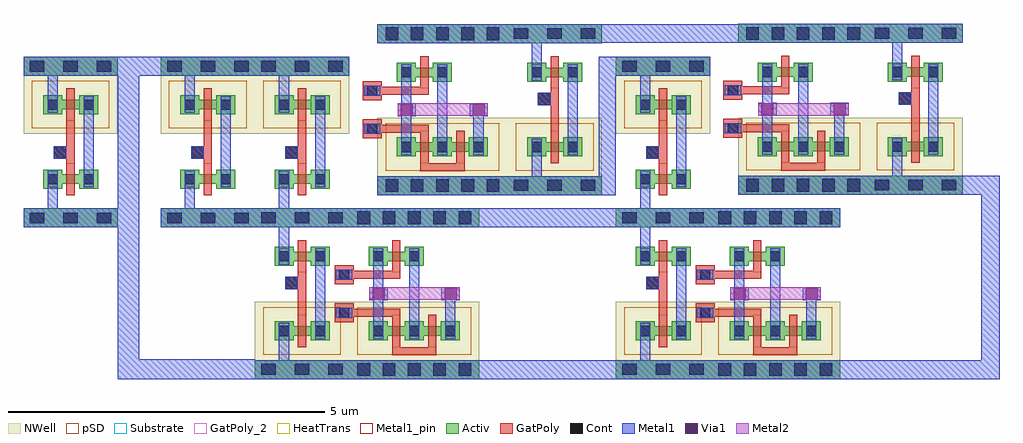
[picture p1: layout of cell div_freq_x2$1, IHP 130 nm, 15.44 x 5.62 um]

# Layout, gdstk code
import gdstk
lib = gdstk.Library(unit=1e-6, precision=5e-09)
def R(c, l, rs):  # rectangles x0, y0, x1, y1
    for r in rs: c.add(gdstk.rectangle(r[:2], r[2:], *l))
def A(c, l, x, y, w, h, nx, ny, dx, dy):  # array of equal rectangles
    R(c, l, [(x+i*dx, y+j*dy, x+i*dx+w, y+j*dy+h) for i in range(nx) for j in range(ny)])
Activ = (1, 0)
GatPoly = (5, 0)
GatPoly_2 = (5, 2)
Cont = (6, 0)
Metal1 = (8, 0)
Metal1_pin = (8, 2)
Metal2 = (10, 0)
pSD = (14, 0)
Via1 = (19, 0)
NWell = (31, 0)
Substrate = (40, 0)
HeatTrans = (51, 0)

pmos_2_5 = lib.new_cell('pmos$2$5')
A(pmos_2_5, Activ, 0, 0, 0.3, 0.3, 3, 1, 0.57, 0)
R(pmos_2_5, Activ, [(0,0.075,1.44,0.225)])
R(pmos_2_5, GatPoly, [(0.37,-0.105,0.5,0.405), (0.37,-0.105,0.5,0.405), (0.94,-0.105,1.07,0.405)])
A(pmos_2_5, Cont, 0.07, 0.07, 0.16, 0.16, 3, 1, 0.57, 0)
R(pmos_2_5, Metal1, [(0.07,0.02,0.23,0.28), (0.07,0.02,0.23,0.28), (0.64,0.02,0.8,0.28), (0.64,0.02,0.8,0.28), (1.21,0.02,1.37,0.28)])
R(pmos_2_5, pSD, [(-0.18,-0.225,1.62,0.525)])
R(pmos_2_5, NWell, [(-0.31,-0.31,1.75,0.61)])
R(pmos_2_5, Substrate, [(1.14,0,1.44,0.3)])
R(pmos_2_5, HeatTrans, [(0.37,-0.105,0.5,0.405), (0.94,-0.105,1.07,0.405)])
pmos_2_5.add(gdstk.Label('pmos', (0.435,0.15), layer=63, texttype=0))
pmos_2_5.add(gdstk.Label('pmos', (0.435,0.15), layer=51, texttype=0))
pmos_2_5.add(gdstk.Label('pmos', (1.005,0.15), layer=51, texttype=0))

via_stack_1_2_7 = lib.new_cell('via_stack$1$2$7')
R(via_stack_1_2_7, GatPoly, [(-0.15,-0.15,0.15,0.15)])
R(via_stack_1_2_7, Cont, [(-0.08,-0.08,0.08,0.08)])
R(via_stack_1_2_7, Metal1, [(-0.13,-0.08,0.13,0.08)])

nmos_2_9 = lib.new_cell('nmos$2$9')
R(nmos_2_9, Activ, [(0,0,0.3,0.3), (0.57,0,0.87,0.3), (0,0.075,0.87,0.225)])
R(nmos_2_9, GatPoly, [(0.37,-0.105,0.5,0.405)])
R(nmos_2_9, GatPoly_2, [(0.37,-0.105,0.5,0.405)])
R(nmos_2_9, Cont, [(0.07,0.07,0.23,0.23), (0.64,0.07,0.8,0.23)])
R(nmos_2_9, Metal1, [(0.07,0.02,0.23,0.28), (0.64,0.02,0.8,0.28)])
R(nmos_2_9, Metal1_pin, [(0.07,0.02,0.23,0.28), (0.64,0.02,0.8,0.28)])
R(nmos_2_9, HeatTrans, [(0.37,-0.105,0.5,0.405)])
nmos_2_9.add(gdstk.Label('nmos', (0.435,0.15), layer=63, texttype=0))
nmos_2_9.add(gdstk.Label('nmos', (0.435,0.15), layer=51, texttype=0))

via_stack_2_2_3 = lib.new_cell('via_stack$2$2$3')
R(via_stack_2_2_3, Metal1, [(-0.145,-0.105,0.145,0.105)])
R(via_stack_2_2_3, Metal2, [(-0.145,-0.1,0.145,0.1)])
R(via_stack_2_2_3, Via1, [(-0.095,-0.095,0.095,0.095)])

pmos_1_4_5 = lib.new_cell('pmos$1$4$5')
A(pmos_1_4_5, Activ, 0, 0, 0.3, 0.3, 3, 1, 0.57, 0)
R(pmos_1_4_5, Activ, [(0,0.075,1.44,0.225)])
R(pmos_1_4_5, GatPoly, [(0.37,-0.105,0.5,0.405), (0.37,-0.105,0.5,0.405), (0.94,-0.105,1.07,0.405)])
A(pmos_1_4_5, Cont, 0.07, 0.07, 0.16, 0.16, 3, 1, 0.57, 0)
R(pmos_1_4_5, Metal1, [(0.07,0.02,0.23,0.28), (0.07,0.02,0.23,0.28), (0.64,0.02,0.8,0.28), (0.64,0.02,0.8,0.28), (1.21,0.02,1.37,0.28)])
R(pmos_1_4_5, pSD, [(-0.18,-0.225,1.62,0.525)])
R(pmos_1_4_5, NWell, [(-0.31,-0.31,1.75,0.61)])
R(pmos_1_4_5, Substrate, [(1.14,0,1.44,0.3)])
R(pmos_1_4_5, HeatTrans, [(0.37,-0.105,0.5,0.405), (0.94,-0.105,1.07,0.405)])
pmos_1_4_5.add(gdstk.Label('pmos', (0.435,0.15), layer=63, texttype=0))
pmos_1_4_5.add(gdstk.Label('pmos', (0.435,0.15), layer=51, texttype=0))
pmos_1_4_5.add(gdstk.Label('pmos', (1.005,0.15), layer=51, texttype=0))

via_stack_1_1_1_6 = lib.new_cell('via_stack$1$1$1$6')
R(via_stack_1_1_1_6, GatPoly, [(-0.15,-0.15,0.15,0.15)])
R(via_stack_1_1_1_6, Cont, [(-0.08,-0.08,0.08,0.08)])
R(via_stack_1_1_1_6, Metal1, [(-0.13,-0.08,0.13,0.08)])

nmos_1_4_3 = lib.new_cell('nmos$1$4$3')
R(nmos_1_4_3, Activ, [(0,0,0.3,0.3), (0.57,0,0.87,0.3), (0,0.075,0.87,0.225)])
R(nmos_1_4_3, GatPoly, [(0.37,-0.105,0.5,0.405)])
R(nmos_1_4_3, GatPoly_2, [(0.37,-0.105,0.5,0.405)])
R(nmos_1_4_3, Cont, [(0.07,0.07,0.23,0.23), (0.64,0.07,0.8,0.23)])
R(nmos_1_4_3, Metal1, [(0.07,0.02,0.23,0.28), (0.64,0.02,0.8,0.28)])
R(nmos_1_4_3, Metal1_pin, [(0.07,0.02,0.23,0.28), (0.64,0.02,0.8,0.28)])
R(nmos_1_4_3, HeatTrans, [(0.37,-0.105,0.5,0.405)])
nmos_1_4_3.add(gdstk.Label('nmos', (0.435,0.15), layer=63, texttype=0))
nmos_1_4_3.add(gdstk.Label('nmos', (0.435,0.15), layer=51, texttype=0))

via_stack_2_1_1_1 = lib.new_cell('via_stack$2$1$1$1')
R(via_stack_2_1_1_1, Metal1, [(-0.145,-0.105,0.145,0.105)])
R(via_stack_2_1_1_1, Metal2, [(-0.145,-0.1,0.145,0.1)])
R(via_stack_2_1_1_1, Via1, [(-0.095,-0.095,0.095,0.095)])

tg_custom_1_1 = lib.new_cell('tg_custom$1$1')
R(tg_custom_1_1, Activ, [(0.205,1.165,2.265,1.465), (0.205,1.165,2.265,1.465), (0.205,3.565,2.265,3.865), (0.205,3.565,2.265,3.865)])
R(tg_custom_1_1, GatPoly, [(0.885,1.67,1.015,2.28), (0.885,1.67,1.015,2.28), (0.125,2.15,1.015,2.28), (0.125,2.15,1.015,2.28), (0.125,2.75,1.015,2.88), (0.125,2.75,1.015,2.88), (0.885,2.75,1.015,3.36), (0.885,2.75,1.015,3.36), (0.885,3.36,1.585,3.49), (0.885,3.36,1.585,3.49)])
R(tg_custom_1_1, Cont, [(0.335,1.215,0.535,1.415), (0.335,1.215,0.535,1.415), (0.735,1.215,0.935,1.415), (0.735,1.215,0.935,1.415), (1.135,1.215,1.335,1.415), (1.135,1.215,1.335,1.415), (1.535,1.215,1.735,1.415), (1.535,1.215,1.735,1.415), (1.935,1.215,2.135,1.415), (1.935,1.215,2.135,1.415), (0.335,3.615,0.535,3.815), (0.335,3.615,0.535,3.815), (0.735,3.615,0.935,3.815), (0.735,3.615,0.935,3.815), (1.135,3.615,1.335,3.815), (1.135,3.615,1.335,3.815), (1.535,3.615,1.735,3.815), (1.535,3.615,1.735,3.815), (1.935,3.615,2.135,3.815), (1.935,3.615,2.135,3.815)])
R(tg_custom_1_1, Metal1, [(0.205,1.165,2.265,1.465), (0.205,1.165,2.265,1.465), (0.585,1.795,0.745,3.235), (0.585,1.795,0.745,3.235), (1.155,1.795,1.315,3.235), (1.155,1.795,1.315,3.235), (1.725,2.41,1.885,3.235), (1.725,2.41,1.885,3.235), (0.205,3.565,2.265,3.865), (0.205,3.565,2.265,3.865)])
R(tg_custom_1_1, Metal1_pin, [(0.205,1.165,2.265,1.465), (0.205,1.165,2.265,1.465), (0.585,1.795,0.745,3.235), (0.585,1.795,0.745,3.235), (1.155,1.795,1.315,3.235), (1.155,1.795,1.315,3.235), (0.205,3.565,2.265,3.865), (0.205,3.565,2.265,3.865)])
R(tg_custom_1_1, Metal2, [(0.525,2.415,1.955,2.615), (0.525,2.415,1.955,2.615)])
R(tg_custom_1_1, pSD, [(0.205,1.165,2.265,1.465), (0.205,1.165,2.265,1.465)])
R(tg_custom_1_1, NWell, [(0.205,3.565,2.265,3.865), (0.205,3.565,2.265,3.865)])
tg_custom_1_1.add(gdstk.Reference(pmos_2_5, (0.515,2.955)))
tg_custom_1_1.add(gdstk.Reference(via_stack_1_2_7, (0.125,2.815)))
tg_custom_1_1.add(gdstk.Reference(via_stack_1_2_7, (0.125,2.215)))
tg_custom_1_1.add(gdstk.Reference(nmos_2_9, (0.515,1.775)))
tg_custom_1_1.add(gdstk.Reference(via_stack_2_2_3, (0.67,2.515)))
tg_custom_1_1.add(gdstk.Reference(via_stack_2_2_3, (1.81,2.515)))
tg_custom_1_1.add(gdstk.Reference(pmos_1_4_5, (0.515,2.955)))
tg_custom_1_1.add(gdstk.Reference(via_stack_1_1_1_6, (0.125,2.815)))
tg_custom_1_1.add(gdstk.Reference(via_stack_1_1_1_6, (0.125,2.215)))
tg_custom_1_1.add(gdstk.Reference(nmos_1_4_3, (0.515,1.775)))
tg_custom_1_1.add(gdstk.Reference(via_stack_2_1_1_1, (0.67,2.515)))
tg_custom_1_1.add(gdstk.Reference(via_stack_2_1_1_1, (1.81,2.515)))
tg_custom_1_1.add(gdstk.Label('VIN', (0.605,2.62), layer=8, texttype=25))
tg_custom_1_1.add(gdstk.Label('VOUT', (1.16,2.25), layer=8, texttype=25))
tg_custom_1_1.add(gdstk.Label('VSN', (0.125,2.215), layer=8, texttype=25))
tg_custom_1_1.add(gdstk.Label('VBN', (1.335,1.315), layer=8, texttype=25))
tg_custom_1_1.add(gdstk.Label('VSP', (0.125,2.815), layer=8, texttype=25))
tg_custom_1_1.add(gdstk.Label('VBP', (1.235,3.715), layer=8, texttype=25))
tg_custom_1_1.add(gdstk.Label('VIN', (0.605,2.62), layer=8, texttype=25))
tg_custom_1_1.add(gdstk.Label('VOUT', (1.16,2.25), layer=8, texttype=25))
tg_custom_1_1.add(gdstk.Label('VSN', (0.125,2.215), layer=8, texttype=25))
tg_custom_1_1.add(gdstk.Label('VBN', (1.335,1.315), layer=8, texttype=25))
tg_custom_1_1.add(gdstk.Label('VSP', (0.125,2.815), layer=8, texttype=25))
tg_custom_1_1.add(gdstk.Label('VBP', (1.235,3.715), layer=8, texttype=25))

pmos_1_1_1_5 = lib.new_cell('pmos$1$1$1$5')
R(pmos_1_1_1_5, Activ, [(0,0,0.3,0.3), (0.57,0,0.87,0.3), (0,0.075,0.87,0.225)])
R(pmos_1_1_1_5, GatPoly, [(0.37,-0.105,0.5,0.405), (0.37,-0.105,0.5,0.405)])
R(pmos_1_1_1_5, Cont, [(0.07,0.07,0.23,0.23), (0.64,0.07,0.8,0.23)])
R(pmos_1_1_1_5, Metal1, [(0.07,0.02,0.23,0.28), (0.07,0.02,0.23,0.28), (0.64,0.02,0.8,0.28), (0.64,0.02,0.8,0.28)])
R(pmos_1_1_1_5, pSD, [(-0.18,-0.225,1.05,0.525)])
R(pmos_1_1_1_5, NWell, [(-0.31,-0.31,1.18,0.61)])
R(pmos_1_1_1_5, Substrate, [(0.57,0,0.87,0.3)])
R(pmos_1_1_1_5, HeatTrans, [(0.37,-0.105,0.5,0.405)])
pmos_1_1_1_5.add(gdstk.Label('pmos', (0.435,0.15), layer=63, texttype=0))
pmos_1_1_1_5.add(gdstk.Label('pmos', (0.435,0.15), layer=51, texttype=0))

nmos_1_1_1_4 = lib.new_cell('nmos$1$1$1$4')
R(nmos_1_1_1_4, Activ, [(0,0,0.3,0.3), (0.57,0,0.87,0.3), (0,0.075,0.87,0.225)])
R(nmos_1_1_1_4, GatPoly, [(0.37,-0.105,0.5,0.405)])
R(nmos_1_1_1_4, GatPoly_2, [(0.37,-0.105,0.5,0.405)])
R(nmos_1_1_1_4, Cont, [(0.07,0.07,0.23,0.23), (0.64,0.07,0.8,0.23)])
R(nmos_1_1_1_4, Metal1, [(0.07,0.02,0.23,0.28), (0.64,0.02,0.8,0.28)])
R(nmos_1_1_1_4, Metal1_pin, [(0.07,0.02,0.23,0.28), (0.64,0.02,0.8,0.28)])
R(nmos_1_1_1_4, HeatTrans, [(0.37,-0.105,0.5,0.405)])
nmos_1_1_1_4.add(gdstk.Label('nmos', (0.435,0.15), layer=63, texttype=0))
nmos_1_1_1_4.add(gdstk.Label('nmos', (0.435,0.15), layer=51, texttype=0))

pmos_1_2_1_6 = lib.new_cell('pmos$1$2$1$6')
R(pmos_1_2_1_6, Activ, [(0,0,0.3,0.3), (0.57,0,0.87,0.3), (0,0.075,0.87,0.225)])
R(pmos_1_2_1_6, GatPoly, [(0.37,-0.105,0.5,0.405), (0.37,-0.105,0.5,0.405)])
R(pmos_1_2_1_6, Cont, [(0.07,0.07,0.23,0.23), (0.64,0.07,0.8,0.23)])
R(pmos_1_2_1_6, Metal1, [(0.07,0.02,0.23,0.28), (0.07,0.02,0.23,0.28), (0.64,0.02,0.8,0.28), (0.64,0.02,0.8,0.28)])
R(pmos_1_2_1_6, pSD, [(-0.18,-0.225,1.05,0.525)])
R(pmos_1_2_1_6, NWell, [(-0.31,-0.31,1.18,0.61)])
R(pmos_1_2_1_6, Substrate, [(0.57,0,0.87,0.3)])
R(pmos_1_2_1_6, HeatTrans, [(0.37,-0.105,0.5,0.405)])
pmos_1_2_1_6.add(gdstk.Label('pmos', (0.435,0.15), layer=63, texttype=0))
pmos_1_2_1_6.add(gdstk.Label('pmos', (0.435,0.15), layer=51, texttype=0))

nmos_1_2_1_3 = lib.new_cell('nmos$1$2$1$3')
R(nmos_1_2_1_3, Activ, [(0,0,0.3,0.3), (0.57,0,0.87,0.3), (0,0.075,0.87,0.225)])
R(nmos_1_2_1_3, GatPoly, [(0.37,-0.105,0.5,0.405)])
R(nmos_1_2_1_3, GatPoly_2, [(0.37,-0.105,0.5,0.405)])
R(nmos_1_2_1_3, Cont, [(0.07,0.07,0.23,0.23), (0.64,0.07,0.8,0.23)])
R(nmos_1_2_1_3, Metal1, [(0.07,0.02,0.23,0.28), (0.64,0.02,0.8,0.28)])
R(nmos_1_2_1_3, Metal1_pin, [(0.07,0.02,0.23,0.28), (0.64,0.02,0.8,0.28)])
R(nmos_1_2_1_3, HeatTrans, [(0.37,-0.105,0.5,0.405)])
nmos_1_2_1_3.add(gdstk.Label('nmos', (0.435,0.15), layer=63, texttype=0))
nmos_1_2_1_3.add(gdstk.Label('nmos', (0.435,0.15), layer=51, texttype=0))

inv_2_1 = lib.new_cell('inv$2$1')
R(inv_2_1, Activ, [(0.24,0.255,1.73,0.555), (0.24,0.255,1.73,0.555), (0.24,2.655,1.73,2.955), (0.24,2.655,1.73,2.955)])
R(inv_2_1, GatPoly, [(0.92,0.76,1.05,2.45), (0.92,0.76,1.05,2.45), (0.72,1.335,0.92,1.535), (0.72,1.335,0.92,1.535)])
R(inv_2_1, Cont, [(0.34,0.315,0.57,0.485), (0.34,0.315,0.57,0.485), (0.87,0.315,1.1,0.485), (0.87,0.315,1.1,0.485), (1.4,0.315,1.63,0.485), (1.4,0.315,1.63,0.485), (0.72,1.335,0.92,1.535), (0.72,1.335,0.92,1.535), (0.34,2.715,0.57,2.885), (0.34,2.715,0.57,2.885), (0.87,2.715,1.1,2.885), (0.87,2.715,1.1,2.885), (1.4,2.715,1.63,2.885), (1.4,2.715,1.63,2.885)])
R(inv_2_1, Metal1, [(0.24,0.255,1.73,0.555), (0.24,0.255,1.73,0.555), (0.62,0.255,0.78,1.145), (0.62,0.255,0.78,1.145), (1.19,0.885,1.35,2.325), (1.19,0.885,1.35,2.325), (0.72,1.335,0.92,1.535), (0.72,1.335,0.92,1.535), (0.62,2.065,0.78,2.955), (0.62,2.065,0.78,2.955), (0.24,2.655,1.73,2.955), (0.24,2.655,1.73,2.955)])
R(inv_2_1, Metal1_pin, [(0.24,0.255,1.73,0.555), (0.24,0.255,1.73,0.555), (1.19,0.885,1.35,2.325), (1.19,0.885,1.35,2.325), (0.72,1.335,0.92,1.535), (0.72,1.335,0.92,1.535), (0.24,2.655,1.73,2.955), (0.24,2.655,1.73,2.955)])
R(inv_2_1, pSD, [(0.24,0.255,1.73,0.555), (0.24,0.255,1.73,0.555)])
R(inv_2_1, NWell, [(0.24,2.655,1.73,2.955), (0.24,2.655,1.73,2.955)])
inv_2_1.add(gdstk.Reference(pmos_1_1_1_5, (0.55,2.045)))
inv_2_1.add(gdstk.Reference(nmos_1_1_1_4, (0.55,0.865)))
inv_2_1.add(gdstk.Reference(pmos_1_2_1_6, (0.55,2.045)))
inv_2_1.add(gdstk.Reference(nmos_1_2_1_3, (0.55,0.865)))
inv_2_1.add(gdstk.Label('VIN', (0.78,1.435), layer=8, texttype=25))
inv_2_1.add(gdstk.Label('VSS', (0.95,0.37), layer=8, texttype=25))
inv_2_1.add(gdstk.Label('VOUT', (1.2,1.665), layer=8, texttype=25))
inv_2_1.add(gdstk.Label('VDD', (0.96,2.805), layer=8, texttype=25))
inv_2_1.add(gdstk.Label('VIN', (0.78,1.435), layer=8, texttype=25))
inv_2_1.add(gdstk.Label('VSS', (0.95,0.37), layer=8, texttype=25))
inv_2_1.add(gdstk.Label('VOUT', (1.2,1.665), layer=8, texttype=25))
inv_2_1.add(gdstk.Label('VDD', (0.96,2.805), layer=8, texttype=25))

reg_v2_1 = lib.new_cell('reg_v2$1')
R(reg_v2_1, Metal1, [(1.4,0.255,1.74,5.355), (1.4,0.255,3.57,0.565), (7.12,0.255,9.28,0.555), (12.83,0.255,15.345,0.555), (15.055,0.255,15.345,3.47), (7.12,2.655,9.28,2.955), (9.01,3.165,9.28,5.355), (14.76,3.17,15.345,3.47), (1.4,5.055,2.08,5.355), (9.01,5.055,9.28,5.355), (9.055,5.57,11.21,5.865)])
reg_v2_1.add(gdstk.Reference(tg_custom_1_1, (4.855,4.12), x_reflection=True))
reg_v2_1.add(gdstk.Reference(inv_2_1, (3.33,2.4)))
reg_v2_1.add(gdstk.Reference(inv_2_1, (3.33,3.21), x_reflection=True))
reg_v2_1.add(gdstk.Reference(inv_2_1, (1.84,2.4)))
reg_v2_1.add(gdstk.Reference(inv_2_1, (7.325,6.12), x_reflection=True))
reg_v2_1.add(gdstk.Reference(inv_2_1, (9.04,2.4)))
reg_v2_1.add(gdstk.Reference(tg_custom_1_1, (5.3,7.03), x_reflection=True))
reg_v2_1.add(gdstk.Reference(tg_custom_1_1, (11.005,7.035), x_reflection=True))
reg_v2_1.add(gdstk.Reference(tg_custom_1_1, (10.565,4.12), x_reflection=True))
reg_v2_1.add(gdstk.Reference(inv_2_1, (9.04,3.21), x_reflection=True))
reg_v2_1.add(gdstk.Reference(inv_2_1, (13.03,6.125), x_reflection=True))

pmos_1_3_1_4 = lib.new_cell('pmos$1$3$1$4')
R(pmos_1_3_1_4, Activ, [(0,0,0.3,0.3), (0.57,0,0.87,0.3), (0,0.075,0.87,0.225)])
R(pmos_1_3_1_4, GatPoly, [(0.37,-0.105,0.5,0.405), (0.37,-0.105,0.5,0.405)])
R(pmos_1_3_1_4, Cont, [(0.07,0.07,0.23,0.23), (0.64,0.07,0.8,0.23)])
R(pmos_1_3_1_4, Metal1, [(0.07,0.02,0.23,0.28), (0.07,0.02,0.23,0.28), (0.64,0.02,0.8,0.28), (0.64,0.02,0.8,0.28)])
R(pmos_1_3_1_4, pSD, [(-0.18,-0.225,1.05,0.525)])
R(pmos_1_3_1_4, NWell, [(-0.31,-0.31,1.18,0.61)])
R(pmos_1_3_1_4, Substrate, [(0.57,0,0.87,0.3)])
R(pmos_1_3_1_4, HeatTrans, [(0.37,-0.105,0.5,0.405)])
pmos_1_3_1_4.add(gdstk.Label('pmos', (0.435,0.15), layer=63, texttype=0))
pmos_1_3_1_4.add(gdstk.Label('pmos', (0.435,0.15), layer=51, texttype=0))

nmos_1_3_1_1 = lib.new_cell('nmos$1$3$1$1')
R(nmos_1_3_1_1, Activ, [(0,0,0.3,0.3), (0.57,0,0.87,0.3), (0,0.075,0.87,0.225)])
R(nmos_1_3_1_1, GatPoly, [(0.37,-0.105,0.5,0.405)])
R(nmos_1_3_1_1, GatPoly_2, [(0.37,-0.105,0.5,0.405)])
R(nmos_1_3_1_1, Cont, [(0.07,0.07,0.23,0.23), (0.64,0.07,0.8,0.23)])
R(nmos_1_3_1_1, Metal1, [(0.07,0.02,0.23,0.28), (0.64,0.02,0.8,0.28)])
R(nmos_1_3_1_1, Metal1_pin, [(0.07,0.02,0.23,0.28), (0.64,0.02,0.8,0.28)])
R(nmos_1_3_1_1, HeatTrans, [(0.37,-0.105,0.5,0.405)])
nmos_1_3_1_1.add(gdstk.Label('nmos', (0.435,0.15), layer=63, texttype=0))
nmos_1_3_1_1.add(gdstk.Label('nmos', (0.435,0.15), layer=51, texttype=0))

inv_1_1 = lib.new_cell('inv$1$1')
R(inv_1_1, Activ, [(0.24,0.255,1.73,0.555), (0.24,2.655,1.73,2.955)])
R(inv_1_1, GatPoly, [(0.92,0.76,1.05,2.45), (0.72,1.335,0.92,1.535)])
A(inv_1_1, Cont, 0.34, 0.315, 0.23, 0.17, 3, 2, 0.53, 2.4)
R(inv_1_1, Cont, [(0.72,1.335,0.92,1.535)])
R(inv_1_1, Metal1, [(0.24,0.255,1.73,0.555), (0.62,0.255,0.78,1.145), (1.19,0.885,1.35,2.325), (0.72,1.335,0.92,1.535), (0.62,2.065,0.78,2.955), (0.24,2.655,1.73,2.955)])
R(inv_1_1, Metal1_pin, [(0.24,0.255,1.73,0.555), (1.19,0.885,1.35,2.325), (0.72,1.335,0.92,1.535), (0.24,2.655,1.73,2.955)])
R(inv_1_1, pSD, [(0.24,0.255,1.73,0.555)])
R(inv_1_1, NWell, [(0.24,2.655,1.73,2.955)])
inv_1_1.add(gdstk.Reference(pmos_1_3_1_4, (0.55,2.045)))
inv_1_1.add(gdstk.Reference(nmos_1_3_1_1, (0.55,0.865)))
inv_1_1.add(gdstk.Label('VIN', (0.78,1.435), layer=8, texttype=25))
inv_1_1.add(gdstk.Label('VSS', (0.95,0.37), layer=8, texttype=25))
inv_1_1.add(gdstk.Label('VOUT', (1.2,1.665), layer=8, texttype=25))
inv_1_1.add(gdstk.Label('VDD', (0.96,2.805), layer=8, texttype=25))

div_freq_x2_1 = lib.new_cell('div_freq_x2$1')
div_freq_x2_1.add(gdstk.Reference(reg_v2_1, (0,0)))
div_freq_x2_1.add(gdstk.Reference(inv_1_1, (-0.33,2.4)))

lib.write_gds('div_freq_x2_1.gds')
